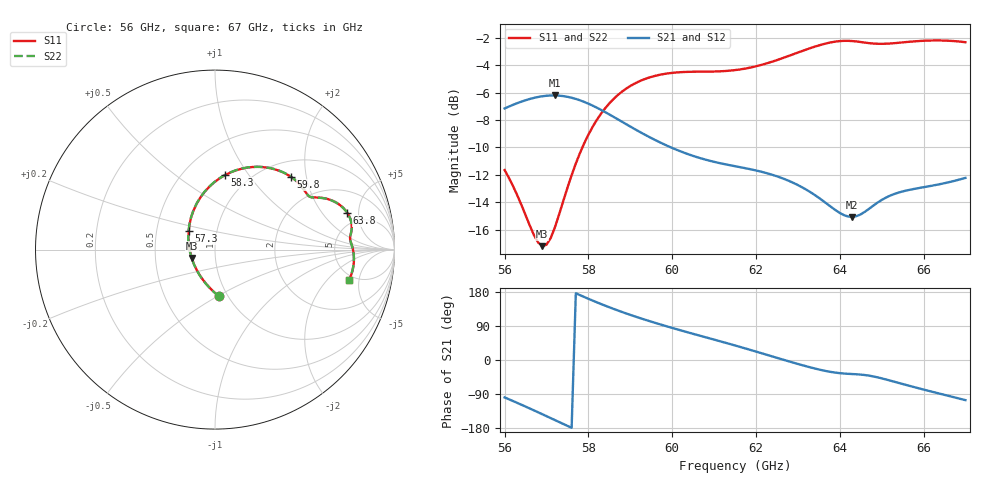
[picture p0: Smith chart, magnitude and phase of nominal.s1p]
! Touchstone file exported from HFSS 2023.2.0
!  File:  C:/Users/Gongzhui/Documents/Projects/hfss-mcp/benchmark/cases/siw_feed_l1/build/answer_work/app_data/workspace/runs/build_siw_feed_l1/work/siw_feed_l1_answer.aedt
!  Generated:  10:37:29 %x4E0A%x5348  7%x6708 29, 2026
!  Design:  SIW Feed Structure
!  Project:  siw_feed_l1_answer
!  Setup:  Setup1
!  Solution:  Sweep
! Variables:
!  Ty = 2.5mm
!  cd = 0.75mm
!  cx = 7.9mm
!  cy = 7.9mm
!  fl = 0.3mm
!  fw = 1mm
!  fx = 3.1mm
!  fy = 2.7mm
!  gap = 0.18mm
!  gx = 15.65mm
!  gy = 13mm
!  hsub = 0.787mm
!  lWG = 3.875mm
!  offset = 0.04mm
!  pl = 1.4mm
!  pw = 0.6mm
!  t1 = 0.32mm
!  t2 = 0.2mm
!  vd = 0.3mm
!  vs = 0.58mm
!  wWG = 5.7mm
# GHz S MA R 50.000000
! Terminal data exported
! Port[1] = 1
! Port[2] = 2
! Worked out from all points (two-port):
!   111 points, 56 GHz to 67 GHz, reference 50 ohm
!   highest |S21| = -6.21 dB at 57.2 GHz (marker M1); lowest = -15.1 dB at 64.3 GHz (marker M2)
!   |S21| within 3 dB of the highest: start of sweep to 59.43 GHz
!   lowest |S11| = -17.2 dB at 56.9 GHz (marker M3), VSWR 1.32, Z = 38.4 - j3.65 ohm
!   |S11| at or under -10 dB: start of sweep to 57.86 GHz
!   |S22| runs from -17.2 to -2.2 dB; largest |S21 - S12| = 1.5e-12
!   S11 on the Smith chart (normalised r, x): 56 GHz: 0.91, -0.51; 57.3 GHz: 0.73, +0.16; 58.3 GHz: 0.78, +0.78; 59.8 GHz: 1.32, +1.63; 63.8 GHz: 3.72, +3.69; 67 GHz: 4.42, -3.65
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56  0.2614 -85.0  0.4386 -98.7  0.4386 -98.7  0.2618 -85.1
56.5  0.179 -112.9  0.47 -122.9  0.47 -122.9  0.1795 -113.1
56.7  0.1514 -133.0  0.4793 -132.9  0.4793 -132.9  0.152 -133.1
56.9  0.1378 -160.2  0.4859 -143.1  0.4859 -143.1  0.1386 -160.3
57  0.1395 -175.4  0.488 -148.2  0.488 -148.2  0.1403 -175.4
57.2  0.1614 156.5  0.4893 -158.5  0.4893 -158.5  0.1622 156.5
57.3  0.1797 144.7  0.4884 -163.6  0.4884 -163.6  0.1805 144.8
57.6  0.2503 118.3  0.4799 -178.9  0.4799 -178.9  0.2512 118.4
57.9  0.3271 100.1  0.4635 166.3  0.4635 166.3  0.328 100.2
58.3  0.4192 82.3  0.4336 147.8  0.4336 147.8  0.42 82.3
58.9  0.5179 62.9  0.3845 123.0  0.3845 123.0  0.5187 62.9
59.7  0.5819 45.5  0.3303 94.5  0.3303 94.5  0.5827 45.5
59.8  0.5858 43.8  0.3248 91.2  0.3248 91.2  0.5866 43.8
60.5  0.5972 34.9  0.2944 69.1  0.2944 69.1  0.5981 34.9
61.5  0.6054 29.1  0.27 38.4  0.27 38.4  0.6061 29.0
62.4  0.6509 26.4  0.2509 9.1  0.2509 9.1  0.6508 26.3
63.4  0.7369 19.9  0.2121 -22.3  0.2121 -22.3  0.7365 19.9
63.8  0.7649 15.6  0.1914 -31.7  0.1914 -31.7  0.7647 15.6
64.3  0.7728 9.6  0.1763 -37.0  0.1763 -37.0  0.7727 9.6
65.2  0.7572 3.4  0.2107 -54.2  0.2107 -54.2  0.7568 3.4
66.2  0.7765 -4.6  0.2291 -83.6  0.2291 -83.6  0.776 -4.6
67  0.7654 -12.9  0.2447 -105.9  0.2447 -105.9  0.765 -12.9
